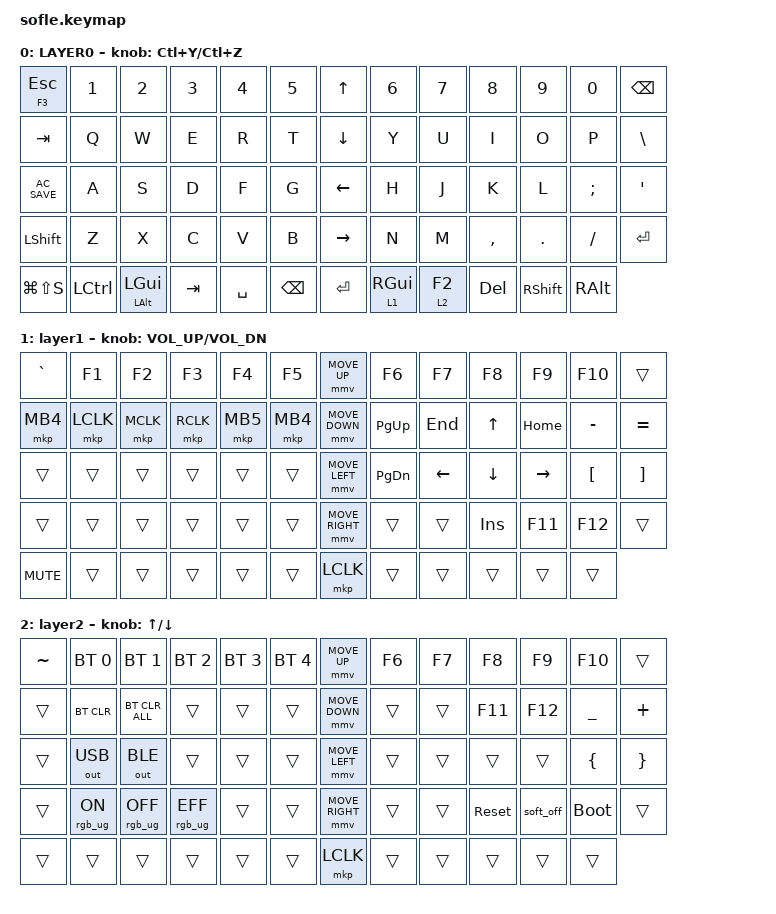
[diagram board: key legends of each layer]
#include <behaviors/mouse_keys.dtsi>
#include <dt-bindings/zmk/mouse.h>
#include <behaviors.dtsi>
#include <dt-bindings/zmk/bt.h>
#include <dt-bindings/zmk/keys.h>
#include <dt-bindings/zmk/outputs.h>
#include <dt-bindings/zmk/rgb.h>

#define ZMK_MOUSE_DEFAULT_MOVE_VAL 1200  // 600
#define ZMK_MOUSE_DEFAULT_SCRL_VAL 20    // 10
#define U_MS_U &mmv MOVE_UP
#define U_MS_D &mmv MOVE_DOWN
#define U_MS_L &mmv MOVE_LEFT
#define U_MS_R &mmv MOVE_RIGHT
#define ZMK_MOUSE_DEFAULT_MOVE_VAL 1200  //  600
#define ZMK_MOUSE_DEFAULT_SCRL_VAL 20    // 10

/ {
    behaviors {
        mmv {
            acceleration-exponent = <1>;      // 1
            time-to-max-speed-ms = <900>;    // 40
            delay-ms = <0>;                   // 0
        };

        msc {
            acceleration-exponent = <1>;      // 0
            time-to-max-speed-ms = <400>;      // 500
            delay-ms = <0>;                   //   10
        };
    };

    scroll_encoder: scroll_encoder {
        compatible = "zmk,behavior-sensor-rotate";
        #sensor-binding-cells = <0>;
        bindings = <&msc SCRL_DOWN>, <&msc SCRL_UP>;

        tap-ms = <30>;
    };

    combos {
        compatible = "zmk,combos";

        ctrlaltdel {
            bindings = <&kp LC(LA(DEL))>;
            key-positions = <0 1 2>;
            require-prior-idle-ms = <120>;
            layers = <0>;
            timeout-ms = <200>;
        };

        Lenter {
            bindings = <&kp ENTER>;
            key-positions = <56 57>;
        };

        pgeup {
            bindings = <&kp PAGE_UP>;
            key-positions = <17 18>;
        };

        pgedown {
            bindings = <&kp PAGE_DOWN>;
            key-positions = <20 21>;
        };

        copy {
            bindings = <&kp LC(C)>;
            key-positions = <44 42>;
        };

        paste {
            bindings = <&kp LC(V)>;
            key-positions = <43 44>;
        };

        home {
            bindings = <&kp HOME>;
            key-positions = <16 18 17>;
        };

        end {
            bindings = <&kp END>;
            key-positions = <20 21 22>;
        };

        dash {
            bindings = <&kp MINUS>;
            key-positions = <31 30>;
        };

        plus {
            bindings = <&kp EQUAL>;
            key-positions = <33 34>;
        };
    };

    keymap {
        compatible = "zmk,keymap";

        layer_0 {
            bindings = <
&mt F3 ESCAPE   &kp N1     &kp N2                 &kp N3   &kp N4     &kp N5           &kp UP_ARROW     &kp NUMBER_6     &kp N7    &kp N8     &kp N9           &kp N0         &kp BACKSPACE
&kp TAB         &kp Q      &kp W                  &kp E    &kp R      &kp T            &kp DOWN_ARROW   &kp Y            &kp U     &kp I      &kp O            &kp P          &kp BSLH
&kp C_AC_SAVE   &kp A      &kp S                  &kp D    &kp F      &kp G            &kp LEFT_ARROW   &kp H            &kp J     &kp K      &kp L            &kp SEMI       &kp APOS
&kp LEFT_SHIFT  &kp Z      &kp X                  &kp C    &kp V      &kp B            &kp RIGHT_ARROW  &kp N            &kp M     &kp COMMA  &kp DOT          &kp FSLH       &kp ENTER
&kp LG(LS(S))   &kp LCTRL  &mt LEFT_ALT LEFT_GUI  &kp TAB  &kp SPACE  &kp BACKSPACE    &kp ENTER        &lt 1 RIGHT_GUI  &lt 2 F2  &kp DEL    &kp RIGHT_SHIFT  &kp RIGHT_ALT
            >;

            sensor-bindings = <&inc_dec_kp LC(Y) LC(Z)>;
            display-name = "LAYER0";
        };

        layer_1 {
            bindings = <
&kp GRAVE   &kp F1     &kp F2     &kp F3     &kp F4    &kp F5      &mmv MOVE_UP     &kp F6     &kp F7    &kp F8      &kp F9     &kp F10           &trans
&mkp MB4    &mkp LCLK  &mkp MCLK  &mkp RCLK  &mkp MB5  &mkp MB4    &mmv MOVE_DOWN   &kp PG_UP  &kp END   &kp UP      &kp HOME   &kp MINUS         &kp EQUAL
&trans      &trans     &trans     &trans     &trans    &trans      &mmv MOVE_LEFT   &kp PG_DN  &kp LEFT  &kp DOWN    &kp RIGHT  &kp LEFT_BRACKET  &kp RIGHT_BRACKET
&trans      &trans     &trans     &trans     &trans    &trans      &mmv MOVE_RIGHT  &trans     &trans    &kp INSERT  &kp F11    &kp F12           &trans
&kp C_MUTE  &trans     &trans     &trans     &trans    &trans      &mkp LCLK        &trans     &trans    &trans      &trans     &trans
            >;

            display-name = "layer1";
            sensor-bindings = <&inc_dec_kp C_VOLUME_UP C_VOL_DN>;
        };

        layer_2 {
            bindings = <
&kp TILDE  &bt BT_SEL 0    &bt BT_SEL 1     &bt BT_SEL 2     &bt BT_SEL 3  &bt BT_SEL 4    &mmv MOVE_UP     &kp F6  &kp F7  &kp F8      &kp F9     &kp F10      &trans
&trans     &bt BT_CLR      &bt BT_CLR_ALL   &trans           &trans        &trans          &mmv MOVE_DOWN   &trans  &trans  &kp F11     &kp F12    &kp UNDER    &kp PLUS
&trans     &out OUT_USB    &out OUT_BLE     &trans           &trans        &trans          &mmv MOVE_LEFT   &trans  &trans  &trans      &trans     &kp LBRC     &kp RBRC
&trans     &rgb_ug RGB_ON  &rgb_ug RGB_OFF  &rgb_ug RGB_EFF  &trans        &trans          &mmv MOVE_RIGHT  &trans  &trans  &sys_reset  &soft_off  &bootloader  &trans
&trans     &trans          &trans           &trans           &trans        &trans          &mkp LCLK        &trans  &trans  &trans      &trans     &trans
            >;

            sensor-bindings = <&inc_dec_kp UP_ARROW DOWN>;
            label = "layer2";
        };
    };
};
